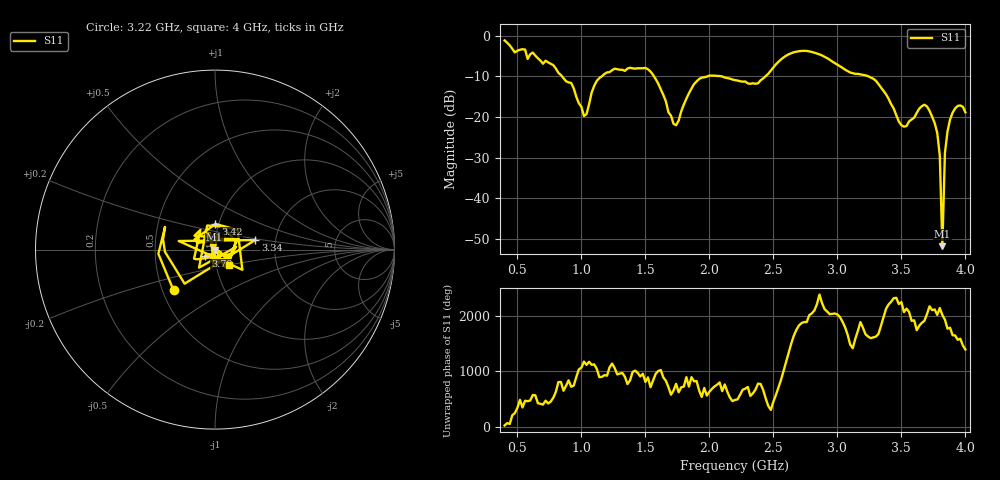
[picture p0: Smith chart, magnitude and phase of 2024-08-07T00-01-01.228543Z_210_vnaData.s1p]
!Created with skrf (http://scikit-rf.org).
# Hz S RI R 50.0
!freq ReS11 ImS11
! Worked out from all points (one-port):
!   181 points, 400 MHz to 4 GHz, reference 50 ohm
!   lowest |S11| = -51.8 dB at 3.82 GHz (marker M1), VSWR 1.01, Z = 49.8 - j0.126 ohm
!   |S11| at or under -10 dB: 1.567 GHz to 1.987 GHz (420.5 MHz wide, 23.7 % of centre); 2.09 GHz to 2.438 GHz (347.8 MHz wide, 15.4 % of centre); 3.24 GHz to end of sweep (the widest 3 of 4)
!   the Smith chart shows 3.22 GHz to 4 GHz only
!   S11 on the Smith chart (normalised r, x): 3.22 GHz: 0.57, -0.29; 3.34 GHz: 1.57, +0.18; 3.42 GHz: 0.96, +0.28; 3.78 GHz: 0.90, -0.06; 4 GHz: 1.15, -0.20
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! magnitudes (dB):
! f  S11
! 400 MHz  -1.2
! 860 MHz  -10.5
! 920 MHz  -11.7
! 1.02 GHz  -19.8
! 1.12 GHz  -11.1
! 1.3 GHz  -8.4
! 1.52 GHz  -8.3
! 1.6 GHz  -11.8
! 1.72 GHz  -21.7
! 1.76 GHz  -20.9
! 1.92 GHz  -10.7
! 2.2 GHz  -11.0
! 2.38 GHz  -11.7
! 2.66 GHz  -4.1
! 3.1 GHz  -9.1
! 3.22 GHz  -9.8
! 3.34 GHz  -12.8
! 3.42 GHz  -16.9
! 3.5 GHz  -22.0
! 3.56 GHz  -21.1
! 3.68 GHz  -17.0
! 3.78 GHz  -23.9
! 3.8 GHz  -29.5
! 3.82 GHz  -51.8
! 3.84 GHz  -28.9
! 3.86 GHz  -23.6
! 3.92 GHz  -17.9
! 4 GHz  -18.9
